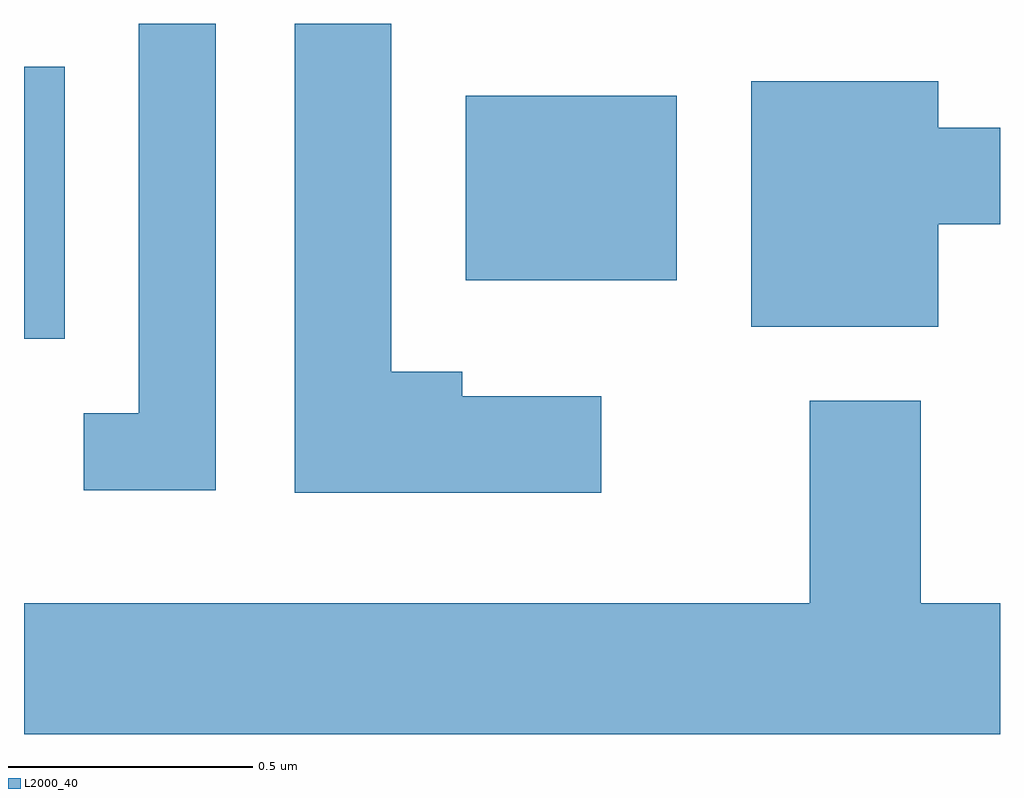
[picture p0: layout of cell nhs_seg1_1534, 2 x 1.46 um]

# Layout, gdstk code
import gdstk
lib = gdstk.Library(unit=1e-6, precision=1e-09)
def R(c, l, rs):  # rectangles x0, y0, x1, y1
    for r in rs: c.add(gdstk.rectangle(r[:2], r[2:], *l))
def P(c, l, *ps):  # polygons
    for p in ps: c.add(gdstk.Polygon(p, *l))
L2000_40 = (2000, 40)

nhs_seg1_1534 = lib.new_cell('nhs_seg1_1534')
R(nhs_seg1_1534, L2000_40, [(196.611,887.066,196.694,887.624), (197.516,887.186,197.949,887.564)])
P(nhs_seg1_1534, L2000_40, [(197.004,887.712),(196.846,887.712),(196.846,886.914),(196.733,886.914),(196.733,886.756),(197.004,886.756)],
  [(197.794,886.949),(197.509,886.949),(197.509,886.999),(197.364,886.999),(197.364,887.712),(197.166,887.712),(197.166,886.751),(197.794,886.751)],
  [(198.484,887.301),(198.611,887.301),(198.611,887.499),(198.484,887.499),(198.484,887.594),(198.101,887.594),(198.101,887.091),(198.484,887.091)],
  [(198.611,886.524),(198.449,886.524),(198.449,886.939),(198.221,886.939),(198.221,886.524),(196.611,886.524),(196.611,886.256),(198.611,886.256)])

lib.write_gds('nhs_seg1_1534.gds')
